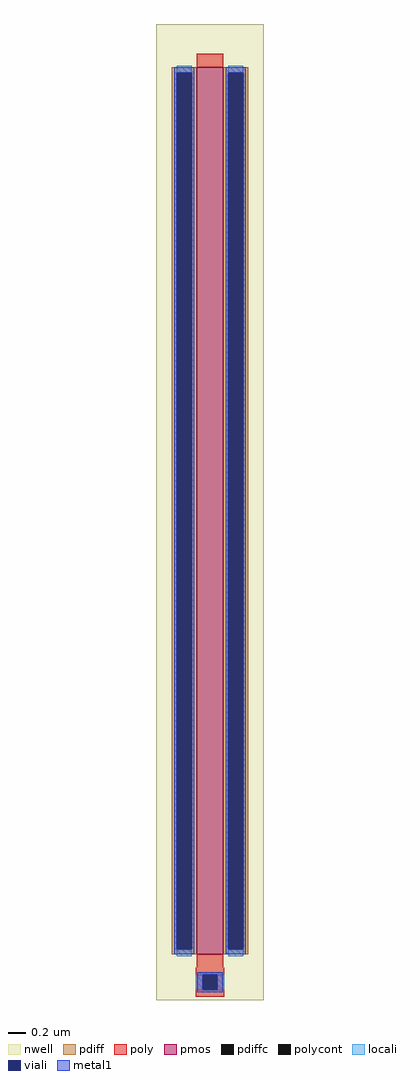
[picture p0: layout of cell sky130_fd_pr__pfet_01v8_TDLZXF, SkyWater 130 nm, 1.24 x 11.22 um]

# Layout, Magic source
magic
tech sky130A
magscale 1 2
<< nwell >>
rect -124 -1161 124 1084
<< pmos >>
rect -30 -1056 30 984
<< pdiff >>
rect -88 972 -30 984
rect -88 -1044 -76 972
rect -42 -1044 -30 972
rect -88 -1056 -30 -1044
rect 30 972 88 984
rect 30 -1044 42 972
rect 76 -1044 88 972
rect 30 -1056 88 -1044
<< pdiffc >>
rect -76 -1044 -42 972
rect 42 -1044 76 972
<< poly >>
rect -30 984 30 1015
rect -30 -1087 30 -1056
rect -33 -1103 33 -1087
rect -33 -1137 -17 -1103
rect 17 -1137 33 -1103
rect -33 -1153 33 -1137
<< polycont >>
rect -17 -1137 17 -1103
<< locali >>
rect -76 972 -42 988
rect -76 -1060 -42 -1044
rect 42 972 76 988
rect 42 -1060 76 -1044
rect -33 -1137 -17 -1103
rect 17 -1137 33 -1103
<< viali >>
rect -76 -1044 -42 972
rect 42 -1044 76 972
rect -17 -1137 17 -1103
<< metal1 >>
rect -82 972 -36 984
rect -82 -1044 -76 972
rect -42 -1044 -36 972
rect -82 -1056 -36 -1044
rect 36 972 82 984
rect 36 -1044 42 972
rect 76 -1044 82 972
rect 36 -1056 82 -1044
rect -29 -1103 29 -1097
rect -29 -1137 -17 -1103
rect 17 -1137 29 -1103
rect -29 -1143 29 -1137
<< properties >>
string gencell sky130_fd_pr__pfet_01v8
string library sky130
string parameters w 10.2 l 0.3 m 1 nf 1 diffcov 100 polycov 100 guard 0 glc 0 grc 0 gtc 0 gbc 0 tbcov 100 rlcov 100 topc 1 botc 0 poverlap 0 doverlap 1 lmin 0.15 wmin 0.42 compatible {sky130_fd_pr__pfet_01v8  sky130_fd_pr__pfet_01v8_lvt sky130_fd_pr__pfet_01v8_hvt  sky130_fd_pr__pfet_g5v0d10v5} full_metal 0 viasrc 100 viadrn 100 viagate 100 viagb 0 viagr 0 viagl 0 viagt 0
<< end >>
